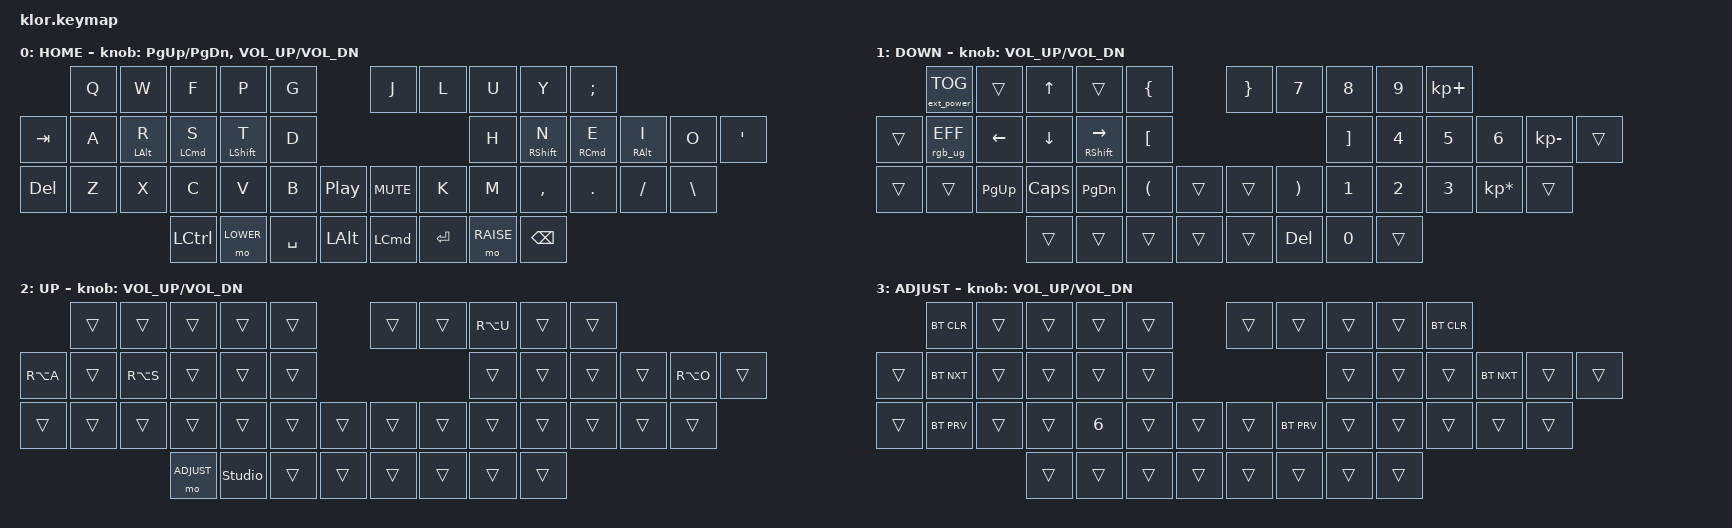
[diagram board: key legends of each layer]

//                               █         █    █            ▄▄▄▀▀▀▀▀▀▄▄▄        █▀▀▀▀▀▀▀▀▀▀█
//                               █        █     █          ▄▀            ▀▄      █          █
//                               █       █      █        ▄▀                ▀▄    █          █
//                               █      █       █        █                  █    █          █
//                               █     █        █       █                    █   █          █
//                               █    █         █       █                    █   █▄▄▄▄▄▄▄▄▄▄█
//                               █   █ █        █       █                    █   █      █
//                               █  █   █       █        █                  █    █       █
//                               █ █     █      █        ▀▄                ▄▀    █        █
//                               ██       █     █          ▀▄            ▄▀      █         █
//                               █         █    █▄▄▄▄▄▄▄▄    ▀▀▀▄▄▄▄▄▄▀▀▀        █          █
//
// ▄▄▄▄▄▄▄▄▄▄▄▄▄▄▄▄▄▄▄▄▄▄▄▄▄▄▄▄▄▄▄▄▄▄▄▄▄▄▄▄▄▄▄▄▄▄▄▄▄▄▄▄▄▄▄▄▄▄▄▄▄▄▄▄▄▄▄▄▄▄▄▄▄▄▄▄▄▄▄▄▄▄▄▄▄▄▄▄▄▄▄▄▄▄▄▄▄▄▄▄▄▄▄▄▄▄▄▄▄▄▄▄▄▄▄▄▄▄▄▄▄▄▄▄▄
       
#include <behaviors.dtsi>
#include <dt-bindings/zmk/keys.h>
#include <dt-bindings/zmk/bt.h>
#include <dt-bindings/zmk/outputs.h>
#include <dt-bindings/zmk/ext_power.h>
#include <dt-bindings/zmk/rgb.h>


#define BASE   0
#define LOWER  1
#define RAISE  2
#define ADJUST 3


/ {
    behaviors {
        hm: homerow_mods {
            compatible = "zmk,behavior-hold-tap";
            label = "HOMEROW_MODS";
            #binding-cells = <2>;
            tapping-term-ms = <280>;
            quick_tap_ms = <0>;
            flavor = "tap-preferred";
            bindings = <&kp>, <&kp>;
        };

    };

     combos {
            compatible = "zmk,combos";
            combo_esc {
                timeout-ms = <50>;
                key-positions = <0 1>;
                bindings = <&kp ESC>;
            };
    };



        keymap {
                compatible = "zmk,keymap";
// ▄▄▄▄▄▄▄▄▄▄▄▄▄▄▄▄▄▄▄▄▄▄▄▄▄▄▄▄▄▄▄▄▄▄▄▄▄▄▄▄▄▄▄▄▄▄▄▄▄▄▄▄▄▄▄▄▄▄▄▄▄▄▄▄▄▄▄▄▄▄▄▄▄▄▄▄▄▄▄▄▄▄▄▄▄▄▄▄▄▄▄▄▄▄▄▄▄▄▄▄▄▄▄▄▄▄▄▄▄▄▄▄▄▄▄▄▄▄▄▄▄▄▄▄▄▄▄▄▄▄▄▄▄▄▄▄▄▄▄▄▄▄


                base_layer {
// ┌───────────────────────────────────────────────────────────┐
label= "HOME"                                                  ;
// └───────────────────────────────────────────────────────────┘
/*           ┌─────────┬─────────┬─────────┬─────────┬─────────┐                    ┌─────────┬─────────┬─────────┬─────────┬─────────┐
             │    Q    │    W    │    F    │    P    │    G    │                    │    J    │    L    │    U    │    Y    │    ;    │   
   ┌─────────┼─────────┼─────────┼─────────┼─────────┼─────────┤                    ├─────────┼─────────┼─────────┼─────────┼─────────┼─────────┐
   │   TAB   │    A    │    R    │    S    │    T    │    D    │                    │    H    │    N    │    E    │    I    │    O    │    "    │
   ├─────────┼─────────┼─────────┼─────────┼─────────┼─────────┤╭────────╮╭────────╮├─────────┼─────────┼─────────┼─────────┼─────────┼─────────┤
   │   DEL   │    Z    │    X    │    C    │    V    │    B    ││  MUTE  ││PLY/PSE ││    K    │    M    │    ,    │    .    │    /    │    \    │
   └─────────┴─────────┴─────────┼─────────┼─────────┼─────────┼╰────────╯╰────────╯┼─────────┼─────────┼─────────┼─────────┴─────────┴─────────┘
                                 │  CTRL   │  LOWER  │  SPACE  │   ALT   ││ CMD/WIN │  ENTER  │  RAISE  │  BSPCE  │  
                                 └─────────┴─────────┴─────────┴─────────┘└─────────┴─────────┴─────────┴─────────┘ */ 
 bindings = <
 //╷         ╷         ╷         ╷         ╷         ╷         ╷         ╷╷         ╷         ╷         ╷         ╷         ╷         ╷         ╷
              &kp Q     &kp W     &kp F     &kp P     &kp G                          &kp J     &kp L     &kp U     &kp Y     &kp SEMI
    &kp TAB   &kp A     &hm LALT R     &hm LCMD S   &hm LSHFT T &kp D                          &kp H   &hm RSHFT N &hm RCMD E     &hm RALT I     &kp O     &kp SQT
    &kp DEL   &kp Z     &kp X     &kp C     &kp V     &kp B     &kp C_PP           &kp C_MUTE  &kp K     &kp M     &kp COMMA &kp DOT   &kp FSLH  &kp BSLH
                                  &kp LCTRL &mo LOWER &kp SPACE &kp LALT   &kp LCMD  &kp RET   &mo RAISE &kp BSPC    
                        >;
            sensor-bindings = <&inc_dec_kp PG_UP PG_DN &inc_dec_kp C_VOL_UP C_VOL_DN>;
                };

// ▄▄▄▄▄▄▄▄▄▄▄▄▄▄▄▄▄▄▄▄▄▄▄▄▄▄▄▄▄▄▄▄▄▄▄▄▄▄▄▄▄▄▄▄▄▄▄▄▄▄▄▄▄▄▄▄▄▄▄▄▄▄▄▄▄▄▄▄▄▄▄▄▄▄▄▄▄▄▄▄▄▄▄▄▄▄▄▄▄▄▄▄▄▄▄▄▄▄▄▄▄▄▄▄▄▄▄▄▄▄▄▄▄▄▄▄▄▄▄▄▄▄▄▄▄▄▄▄▄▄▄▄▄▄▄▄▄▄▄▄▄▄


                lower_layer {
// ┌───────────────────────────────────────────────────────────┐
label= "DOWN"                                                  ;
// └───────────────────────────────────────────────────────────┘
/*           ┌─────────┬─────────┬─────────┬─────────┬─────────┐                    ┌─────────┬─────────┬─────────┬─────────┬─────────┐
             │         │         │    UP   │         │    {    │                    │    }    │    7    │    8    │    9    │    +    │
   ┌─────────┼─────────┼─────────┼─────────┼─────────┼─────────┤                    ├─────────┼─────────┼─────────┼─────────┼─────────┼─────────┐
   │         │         │   LEFT  │  DOWN   │  RIGHT  │    [    │                    │    ]    │    4    │    5    │    6    │    -    │         │
   ├─────────┼─────────┼─────────┼─────────┼─────────┼─────────┤╭────────╮╭────────╮├─────────┼─────────┼─────────┼─────────┼─────────┼─────────┤
   │         │         │   P UP  │ C LOCK  │ P DOWN  │    (    ││        ││        ││    )    │    1    │    2    │    3    │    *    │         │
   └─────────┴─────────┴─────────┼─────────┼─────────┼─────────┼╰────────╯╰────────╯┼─────────┼─────────┼─────────┼─────────┴─────────┴─────────┘
                                 │         │         │         │         ││         │         │    0    │         │  
                                 └─────────┴─────────┴─────────┴─────────┘└─────────┴─────────┴─────────┴─────────┘ */    
 bindings = <
 //╷         ╷         ╷         ╷         ╷         ╷         ╷         ╷╷         ╷         ╷         ╷         ╷         ╷         ╷         ╷
    &ext_power EP_TOG   &trans    &kp UP    &trans    &kp LBRC                       &kp RBRC  &kp N7 &kp N8 &kp N9 &kp KP_PLUS
    &trans  &rgb_ug RGB_EFF    &kp LEFT  &kp DOWN  &hm RSHFT RIGHT &kp LBKT                       &kp RBKT  &kp N4 &kp N5 &kp N6 &kp KP_MINUS &trans
    &trans    &trans    &kp PG_UP &kp CAPS  &kp PG_DN &kp LPAR  &trans     &trans    &kp RPAR  &kp N1 &kp N2 &kp N3 &kp KP_MULTIPLY &trans
                                  &trans    &trans    &trans    &trans     &trans    &kp DELETE &kp N0 &trans  
                        >;
            sensor-bindings = <&inc_dec_kp C_VOL_UP C_VOL_DN>;
                };

// ▄▄▄▄▄▄▄▄▄▄▄▄▄▄▄▄▄▄▄▄▄▄▄▄▄▄▄▄▄▄▄▄▄▄▄▄▄▄▄▄▄▄▄▄▄▄▄▄▄▄▄▄▄▄▄▄▄▄▄▄▄▄▄▄▄▄▄▄▄▄▄▄▄▄▄▄▄▄▄▄▄▄▄▄▄▄▄▄▄▄▄▄▄▄▄▄▄▄▄▄▄▄▄▄▄▄▄▄▄▄▄▄▄▄▄▄▄▄▄▄▄▄▄▄▄


                raise_layer {
// ┌───────────────────────────────────────────────────────────┐
label= "UP"                                                    ;
// └───────────────────────────────────────────────────────────┘
/*           ┌─────────┬─────────┬─────────┬─────────┬─────────┐                    ┌─────────┬─────────┬─────────┬─────────┬─────────┐
             │         │         │         │         │         │                    │         │         │    Ü    │         │         │
   ┌─────────┼─────────┼─────────┼─────────┼─────────┼─────────┤                    ├─────────┼─────────┼─────────┼─────────┼─────────┼─────────┐
   │    Ä    │         │    ß    │         │         │         │                    │         │         │         │         │    Ö    │         │
   ├─────────┼─────────┼─────────┼─────────┼─────────┼─────────┤╭────────╮╭────────╮├─────────┼─────────┼─────────┼─────────┼─────────┼─────────┤
   │         │         │         │         │         │         ││        ││        ││         │         │         │         │         │         │
   └─────────┴─────────┴─────────┼─────────┼─────────┼─────────┼╰────────╯╰────────╯┼─────────┼─────────┼─────────┼─────────┴─────────┴─────────┘
                                 │ ADJUST  │         │         │         ││         │         │         │         │  
                                 └─────────┴─────────┴─────────┴─────────┘└─────────┴─────────┴─────────┴─────────┘ */ 
 bindings = <
 //╷         ╷         ╷         ╷         ╷         ╷         ╷         ╷╷         ╷         ╷         ╷         ╷         ╷         ╷         ╷
              &trans    &trans    &trans    &trans    &trans                         &trans    &trans    &kp RA(U) &trans    &trans     
    &kp RA(A) &trans    &kp RA(S) &trans    &trans    &trans                         &trans    &trans    &trans    &trans    &kp RA(O) &trans  
    &trans    &trans    &trans    &trans    &trans    &trans    &trans     &trans    &trans    &trans    &trans    &trans    &trans    &trans
                                  &mo ADJUST &studio_unlock   &trans    &trans     &trans    &trans    &trans    &trans  
                        >;
                sensor-bindings = <&inc_dec_kp C_VOL_UP C_VOL_DN>;
                };

// ▄▄▄▄▄▄▄▄▄▄▄▄▄▄▄▄▄▄▄▄▄▄▄▄▄▄▄▄▄▄▄▄▄▄▄▄▄▄▄▄▄▄▄▄▄▄▄▄▄▄▄▄▄▄▄▄▄▄▄▄▄▄▄▄▄▄▄▄▄▄▄▄▄▄▄▄▄▄▄▄▄▄▄▄▄▄▄▄▄▄▄▄▄▄▄▄▄▄▄▄▄▄▄▄▄▄▄▄▄▄▄▄▄▄▄▄▄▄▄▄▄▄▄▄▄


                adjust_layer {
// ┌───────────────────────────────────────────────────────────┐
label= "ADJUST"                                                ;
// └───────────────────────────────────────────────────────────┘
/*           ┌─────────┬─────────┬─────────┬─────────┬─────────┐                    ┌─────────┬─────────┬─────────┬─────────┬─────────┐
             │         │         │         │         │         │                    │         │         │         │         │         │
   ┌─────────┼─────────┼─────────┼─────────┼─────────┼─────────┤                    ├─────────┼─────────┼─────────┼─────────┼─────────┼─────────┐
   │         │         │         │         │         │         │                    │         │         │         │         │         │         │
   ├─────────┼─────────┼─────────┼─────────┼─────────┼─────────┤╭────────╮╭────────╮├─────────┼─────────┼─────────┼─────────┼─────────┼─────────┤
   │         │         │         │         │         │         ││        ││        ││         │         │         │         │         │         │
   └─────────┴─────────┴─────────┼─────────┼─────────┼─────────┼╰────────╯╰────────╯┼─────────┼─────────┼─────────┼─────────┴─────────┴─────────┘
                                 │         │         │         │         ││         │         │         │         │  
                                 └─────────┴─────────┴─────────┴─────────┘└─────────┴─────────┴─────────┴─────────┘ */ 
 bindings = <
 //╷         ╷         ╷         ╷         ╷         ╷         ╷         ╷╷         ╷         ╷         ╷         ╷         ╷         ╷         ╷
             &bt BT_CLR &trans    &trans    &trans    &trans                         &trans    &trans    &trans    &trans    &bt BT_CLR   
    &trans   &bt BT_NXT &trans    &trans    &trans    &trans                         &trans    &trans    &trans    &bt BT_NXT &trans   &trans 
    &trans   &bt BT_PRV &trans    &trans    &kp N6 &trans    &trans     &trans    &bt BT_PRV &trans   &trans    &trans    &trans    &trans    
                                  &trans    &trans    &trans    &trans     &trans    &trans    &trans    &trans    
                        >;
            sensor-bindings = <&inc_dec_kp C_VOL_UP C_VOL_DN>;
                };
        };
};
